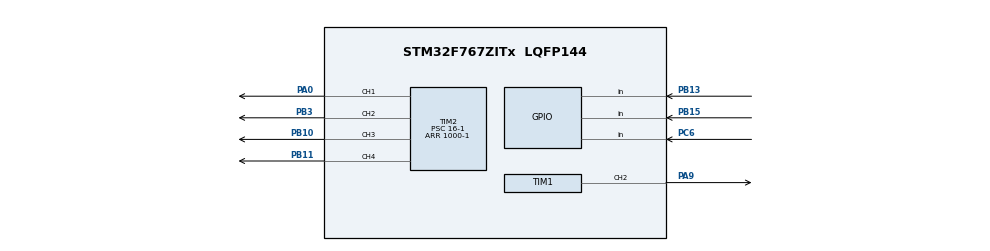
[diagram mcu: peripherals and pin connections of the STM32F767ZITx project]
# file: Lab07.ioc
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Mcu.Family=STM32F7
Mcu.Name=STM32F767ZITx
Mcu.Package=LQFP144
NVIC.PriorityGroup=NVIC_PRIORITYGROUP_4
PA0/WKUP.Signal=S_TIM2_CH1_ETR
PA2.Signal=USART2_TX
PA3.Signal=USART2_RX
PA9.Signal=S_TIM1_CH2
PB10.Signal=S_TIM2_CH3
PB11.Signal=S_TIM2_CH4
PB13.Signal=GPIO_Input
PB15.Signal=GPIO_Input
PB3.Signal=S_TIM2_CH2
PC6.Signal=GPIO_Input
ProjectManager.HeapSize=0x200
ProjectManager.StackSize=0x400
ProjectManager.TargetToolchain=STM32CubeIDE
RCC.HSE_VALUE=25000000
RCC.HSI_VALUE=16000000
RCC.LSE_VALUE=32768
RCC.USBFreq_Value=96000000
RCC.VCOOutputFreq_Value=192000000
SH.S_TIM1_CH2.0=TIM1_CH2,PWM Generation2 CH2
SH.S_TIM2_CH1_ETR.0=TIM2_CH1,PWM Generation1 CH1
SH.S_TIM2_CH2.0=TIM2_CH2,PWM Generation2 CH2
SH.S_TIM2_CH3.0=TIM2_CH3,PWM Generation3 CH3
SH.S_TIM2_CH4.0=TIM2_CH4,PWM Generation4 CH4
TIM1.Channel-PWM\ Generation2\ CH2=TIM_CHANNEL_2
TIM1.Period=1000-1
TIM1.Prescaler=16-1
TIM1.Pulse-PWM\ Generation2\ CH2=10000/4-1
TIM2.Channel-PWM\ Generation1\ CH1=TIM_CHANNEL_1
TIM2.Channel-PWM\ Generation2\ CH2=TIM_CHANNEL_2
TIM2.Channel-PWM\ Generation3\ CH3=TIM_CHANNEL_3
TIM2.Channel-PWM\ Generation4\ CH4=TIM_CHANNEL_4
TIM2.Period=1000-1
TIM2.Prescaler=16-1
TIM2.Pulse-PWM\ Generation1\ CH1=10000/4-1
TIM2.Pulse-PWM\ Generation3\ CH3=10000/4-1
TIM2.Pulse-PWM\ Generation4\ CH4=10000/4-1
VP_TIM1_VS_ClockSourceINT.Mode=Internal
VP_TIM2_VS_ClockSourceINT.Mode=Internal
board=custom

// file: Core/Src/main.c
/* USER CODE BEGIN Header */
/**
  ******************************************************************************
  * @file           : main.c
  * @brief          : Main program body
  ******************************************************************************
  * @attention
  *
  * Copyright (c) 2023 STMicroelectronics.
  * All rights reserved.
  *
  * This software is licensed under terms that can be found in the LICENSE file
  * in the root directory of this software component.
  * If no LICENSE file comes with this software, it is provided AS-IS.
  *
  ******************************************************************************
  */
/* USER CODE END Header */
#include "main.h"
#include "tim.h"
#include "gpio.h"

/* USER CODE BEGIN PV */
float pwm;
//float pwmBLUE;
//float pwmGREEN;
float REDdutyCycle = 0.0;
float BLUEdutyCycle = 0.0;
float GREENdutyCycle = 0.0;
/* USER CODE END PV */

void SystemClock_Config(void);

int main(void)
{

  /* MCU Configuration--------------------------------------------------------*/

  /* Reset of all peripherals, Initializes the Flash interface and the Systick. */
  HAL_Init();

  /* Configure the system clock */
  SystemClock_Config();

  /* Initialize all configured peripherals */
  MX_GPIO_Init();
  MX_TIM2_Init();
  MX_TIM1_Init();

  /* Infinite loop */
  while (1)
  {

    /* USER CODE BEGIN 3 */
	  if (REDdutyCycle>1.0){
	  		  REDdutyCycle = 0.0;}

	  if (BLUEdutyCycle>1.0){
		  BLUEdutyCycle = 0.0;}

	  if (GREENdutyCycle>1.0){
		  GREENdutyCycle = 0.0;}

	  else{

	  if (HAL_GPIO_ReadPin(GPIOC, GPIO_PIN_6) == GPIO_PIN_RESET ){
//	  -----------------RED-----------
      REDdutyCycle +=0.2;
	 }
	  if (HAL_GPIO_ReadPin(GPIOB, GPIO_PIN_13) == GPIO_PIN_RESET ){
	      BLUEdutyCycle +=0.2;
	  }
	  if (HAL_GPIO_ReadPin(GPIOB, GPIO_PIN_15) == GPIO_PIN_RESET ){
	      GREENdutyCycle +=0.2;
	  }
	  htim2.Instance->CCR1=(1000-1)*REDdutyCycle;
	  HAL_TIM_PWM_Start(&htim2, TIM_CHANNEL_1);
//	  HAL_Delay(1000);
//	  HAL_TIM_PWM_Stop(&htim2, TIM_CHANNEL_1);
//	  pwm = (GPIOA->IDR&GPIO_PIN_1)>>1;
	  htim2.Instance->CCR4=(1000-1)*BLUEdutyCycle;
	 	  HAL_TIM_PWM_Start(&htim2, TIM_CHANNEL_4);
//	 	  HAL_Delay(100);
//	 	  HAL_TIM_PWM_Stop(&htim2, TIM_CHANNEL_4);
//	 	  pwm = (GPIOA->IDR&GPIO_PIN_11)>>11;
	 	 htim2.Instance->CCR3=(1000-1)*GREENdutyCycle;
	 	   	  HAL_TIM_PWM_Start(&htim2, TIM_CHANNEL_3);
//	 	   	  HAL_Delay(100);
//	 	   	  HAL_TIM_PWM_Stop(&htim2, TIM_CHANNEL_3);
	 	   		  HAL_Delay(400);
	 		  pwm = (GPIOA->IDR&GPIO_PIN_1)>>1;
		 	  pwm = (GPIOA->IDR&GPIO_PIN_11)>>11;
	 	   	  pwm = (GPIOA->IDR&GPIO_PIN_10)>>10;

	  }
  }
//	  --------------GREEN---------------

//	  if (HAL_GPIO_ReadPin(GPIOB, GPIO_PIN_13) == GPIO_PIN_RESET ){
//	  htim2.Instance->CCR4=(1000-1)*BLUEdutyCycle;
//	  HAL_TIM_PWM_Start(&htim2, TIM_CHANNEL_4);
//	  HAL_Delay(100);
//	  HAL_TIM_PWM_Stop(&htim2, TIM_CHANNEL_4);
//	  pwm = (GPIOA->IDR&GPIO_PIN_11)>>11;}
//	  -----------BLUE----------------
//	  if (HAL_GPIO_ReadPin(GPIOB, GPIO_PIN_15) == GPIO_PIN_RESET ){
//  	  htim2.Instance->CCR6=(1000-1)*GREENdutyCycle;
//  	  HAL_TIM_PWM_Start(&htim2, TIM_CHANNEL_3);
//  	  HAL_Delay(100);
//  	  HAL_TIM_PWM_Stop(&htim2, TIM_CHANNEL_3);
//  	  pwm = (GPIOA->IDR&GPIO_PIN_10)>>10;
//	  }  }
  /* USER CODE END 3 */
}

void SystemClock_Config(void)
{
  RCC_OscInitTypeDef RCC_OscInitStruct = {0};
  RCC_ClkInitTypeDef RCC_ClkInitStruct = {0};

  /** Configure the main internal regulator output voltage
  */
  __HAL_RCC_PWR_CLK_ENABLE();
  __HAL_PWR_VOLTAGESCALING_CONFIG(PWR_REGULATOR_VOLTAGE_SCALE3);

  /** Initializes the RCC Oscillators according to the specified parameters
  * in the RCC_OscInitTypeDef structure.
  */
  RCC_OscInitStruct.OscillatorType = RCC_OSCILLATORTYPE_HSI;
  RCC_OscInitStruct.HSIState = RCC_HSI_ON;
  RCC_OscInitStruct.HSICalibrationValue = RCC_HSICALIBRATION_DEFAULT;
  RCC_OscInitStruct.PLL.PLLState = RCC_PLL_NONE;
  if (HAL_RCC_OscConfig(&RCC_OscInitStruct) != HAL_OK)
  {
    Error_Handler();
  }

  /** Initializes the CPU, AHB and APB buses clocks
  */
  RCC_ClkInitStruct.ClockType = RCC_CLOCKTYPE_HCLK|RCC_CLOCKTYPE_SYSCLK
                              |RCC_CLOCKTYPE_PCLK1|RCC_CLOCKTYPE_PCLK2;
  RCC_ClkInitStruct.SYSCLKSource = RCC_SYSCLKSOURCE_HSI;
  RCC_ClkInitStruct.AHBCLKDivider = RCC_SYSCLK_DIV1;
  RCC_ClkInitStruct.APB1CLKDivider = RCC_HCLK_DIV1;
  RCC_ClkInitStruct.APB2CLKDivider = RCC_HCLK_DIV1;

  if (HAL_RCC_ClockConfig(&RCC_ClkInitStruct, FLASH_LATENCY_0) != HAL_OK)
  {
    Error_Handler();
  }
}

void Error_Handler(void)
{
  __disable_irq();
  while (1)
  {
  }
}
